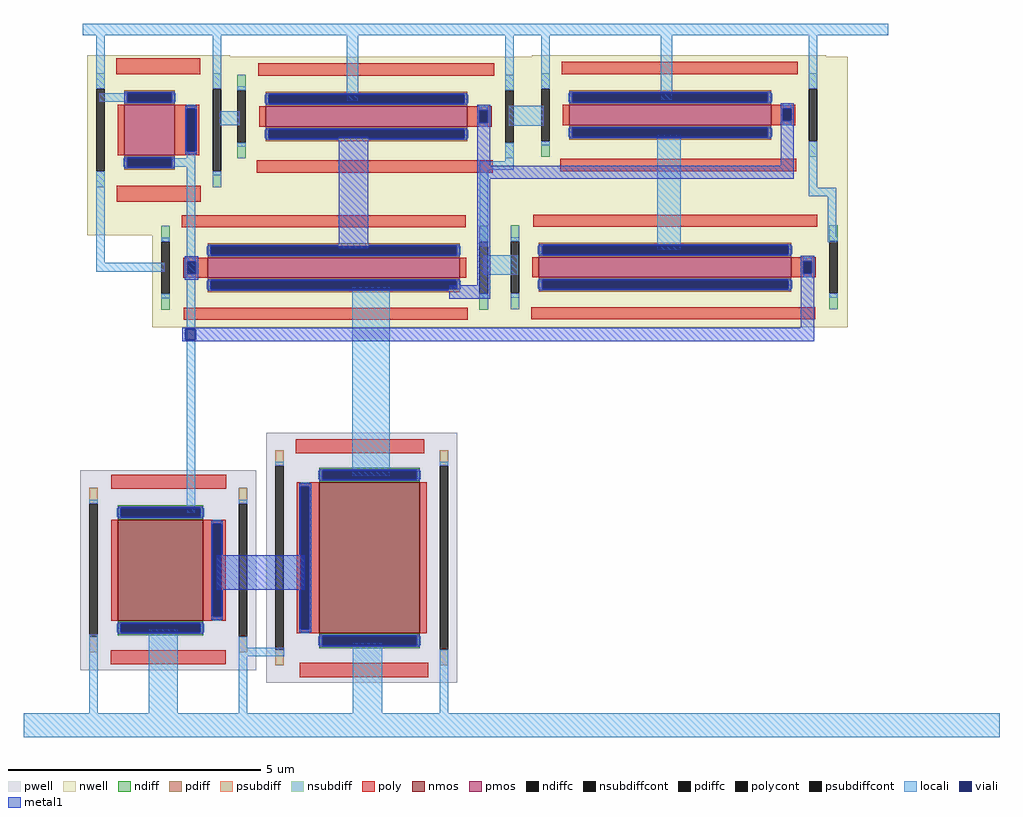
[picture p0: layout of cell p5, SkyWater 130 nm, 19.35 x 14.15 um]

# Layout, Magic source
magic
tech sky130B
magscale 1 2
<< nwell >>
rect 806 1626 3268 2698
<< locali >>
rect 1915 2784 3429 2830
rect 2052 2572 2086 2784
rect 2527 2529 2573 2784
rect 3114 2572 3148 2784
rect 1924 2426 2062 2504
rect 2512 1934 2606 2390
rect 3114 2179 3148 2364
rect 3114 2145 3223 2179
rect 3189 1963 3223 2145
rect 1822 1834 1960 1912
rect 1734 0 3870 96
<< viali >>
rect 641 1577 683 1619
<< metal1 >>
rect 3003 2266 3055 2444
rect 1814 2214 3055 2266
rect 3081 1625 3135 1840
rect 629 1619 3135 1625
rect 629 1577 641 1619
rect 683 1577 3135 1619
rect 629 1571 3135 1577
use M9  M9_0 
transform 0 1 2600 -1 0 2468
box -236 -584 236 584
use M10  M10_0 
transform 0 1 2580 -1 0 1864
box -236 -684 236 684
use p4  p4_0
transform 1 0 0 0 1 0
box 0 0 1980 2830
<< end >>

# cell M9: kit device sky130_fd_pr__pfet_01v8, w 4 l .4 m 1 nf 1 diffcov 100 polycov 100 guard 1 glc 0 grc 0 gtc 1 gbc 1 tbcov 100 rlcov 100 topc 1 botc 0 poverlap 0 doverlap 1 lmin 0.15 wmin 0.42 compatible {sky130_fd_pr__pfet_01v8 sky130_fd_pr__pfet_01v8_lvt sky130_fd_pr__pfet_01v8_hvt sky130_fd_pr__pfet_g5v0d10v5} full_metal 0 viasrc 100 viadrn 100 viagate 100 viagb 0 viagr 0 viagl 0 viagt 0

# cell M10: kit device sky130_fd_pr__pfet_01v8, w 5 l .4 m 1 nf 1 diffcov 100 polycov 100 guard 1 glc 0 grc 0 gtc 1 gbc 1 tbcov 100 rlcov 100 topc 1 botc 0 poverlap 0 doverlap 1 lmin 0.15 wmin 0.42 compatible {sky130_fd_pr__pfet_01v8 sky130_fd_pr__pfet_01v8_lvt sky130_fd_pr__pfet_01v8_hvt sky130_fd_pr__pfet_g5v0d10v5} full_metal 0 viasrc 100 viadrn 100 viagate 100 viagb 0 viagr 0 viagl 0 viagt 0

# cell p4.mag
magic
tech sky130B
magscale 1 2
<< nwell >>
rect 802 2054 1890 2286
<< locali >>
rect 1282 2784 1961 2830
rect 1282 2525 1328 2784
rect 1910 2566 1944 2784
rect 778 2428 858 2482
rect 1910 2285 1944 2358
rect 1809 2251 1944 2285
rect 1809 1947 1843 2251
<< metal1 >>
rect 1250 1940 1366 2382
rect 1799 1792 1851 2438
rect 1688 1740 1851 1792
use M9  M9_0
transform 0 1 1396 -1 0 2462
box -236 -584 236 584
use p2  p2_0
transform 1 0 0 0 1 0
box 0 0 1878 2830
<< end >>

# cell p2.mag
magic
tech sky130B
magscale 1 2
<< nwell >>
rect 252 1990 822 2162
<< locali >>
rect 234 2784 1328 2830
rect 288 2572 322 2784
rect 750 2572 784 2784
rect 301 2520 412 2554
rect 647 2296 681 2324
rect 588 2262 681 2296
rect 288 1881 322 2244
rect 288 1847 561 1881
rect 647 891 681 2262
rect 1304 1036 1452 1786
use M10  M10_0 
transform 0 -1 1194 -1 0 1862
box -236 -684 236 684
use M21  M21_0 
transform 0 1 536 1 0 2408
box -296 -284 296 284
use p1  p1_0
transform 1 0 946 0 1 838
box -946 -838 884 370
<< end >>

# cell M21: kit device sky130_fd_pr__pfet_01v8, w 1 l 1 m 1 nf 1 diffcov 100 polycov 100 guard 1 glc 0 grc 0 gtc 1 gbc 1 tbcov 100 rlcov 100 topc 1 botc 0 poverlap 0 doverlap 1 lmin 0.15 wmin 0.42 compatible {sky130_fd_pr__pfet_01v8 sky130_fd_pr__pfet_01v8_lvt sky130_fd_pr__pfet_01v8_hvt sky130_fd_pr__pfet_g5v0d10v5} full_metal 0 viasrc 100 viadrn 100 viagate 100 viagb 0 viagr 0 viagl 0 viagt 0

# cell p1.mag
magic
tech sky130B
magscale 1 2
<< locali >>
rect -685 -742 -651 -430
rect -450 -742 -334 -410
rect -93 -483 -59 -439
rect -93 -517 87 -483
rect -93 -742 -59 -517
rect 360 -742 476 -462
rect 704 -742 738 -490
rect -946 -838 884 -742
<< metal1 >>
rect -180 -252 170 -116
use M8  M8_0 
transform 0 -1 395 1 0 -126
box -496 -379 496 379
use M22  M22_0 
transform 0 1 -372 1 0 -175
box -396 -349 396 349
<< end >>

# cell M8: kit device sky130_fd_pr__nfet_01v8, w 2 l 3 m 1 nf 1 diffcov 100 polycov 100 guard 1 glc 0 grc 0 gtc 1 gbc 1 tbcov 100 rlcov 100 topc 1 botc 0 poverlap 0 doverlap 1 lmin 0.15 wmin 0.42 compatible {sky130_fd_pr__nfet_01v8 sky130_fd_pr__nfet_01v8_lvt sky130_fd_bs_flash__special_sonosfet_star sky130_fd_pr__nfet_g5v0d10v5 sky130_fd_pr__nfet_05v0_nvt sky130_fd_pr__nfet_03v3_nvt} full_metal 0 viasrc 100 viadrn 100 viagate 100 viagb 0 viagr 0 viagl 0 viagt 0

# cell M22: kit device sky130_fd_pr__nfet_01v8, w 1.7 l 2 m 1 nf 1 diffcov 100 polycov 100 guard 1 glc 0 grc 0 gtc 1 gbc 1 tbcov 100 rlcov 100 topc 1 botc 0 poverlap 0 doverlap 1 lmin 0.15 wmin 0.42 compatible {sky130_fd_pr__nfet_01v8 sky130_fd_pr__nfet_01v8_lvt sky130_fd_bs_flash__special_sonosfet_star sky130_fd_pr__nfet_g5v0d10v5 sky130_fd_pr__nfet_05v0_nvt sky130_fd_pr__nfet_03v3_nvt} full_metal 0 viasrc 100 viadrn 100 viagate 100 viagb 0 viagr 0 viagl 0 viagt 0
